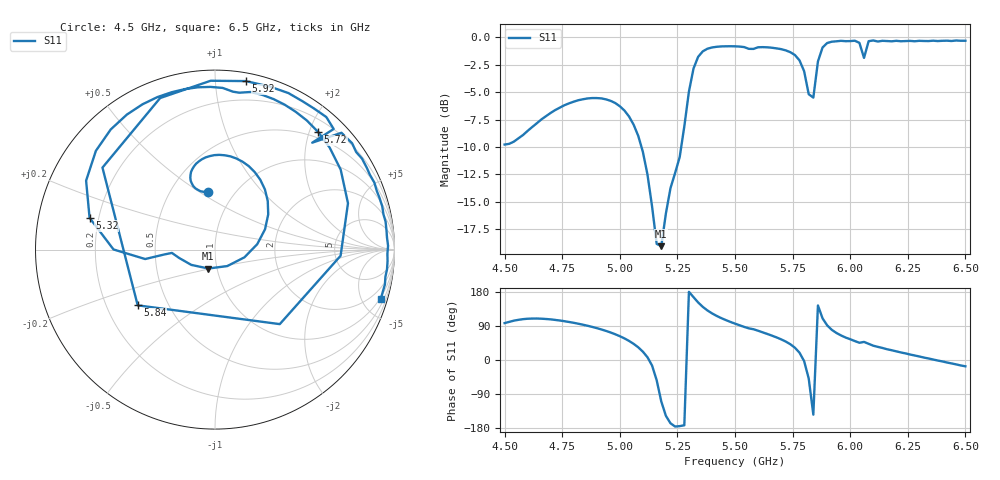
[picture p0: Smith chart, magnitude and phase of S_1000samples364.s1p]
! TOUCHSTONE file generated by CST MICROWAVE STUDIO
! Date and time: Thu Oct 27 22:15:13 2022
! Project name: L.cst
! Parameters = {Di=1.27; Epsilon_r=1.56; InnerDiameter=1.27; Length=2; Lf=10; Lg=60; OuterConductorThickness=0.2921; OuterDiameter=3.6; Wf=3; Wp=41.2; de=1.5; df=6.8; g=0.8; gx=1.24012; gy=3.19924; h=2.34; hf=1.524; px=14.7808; py=8.80377; w=9.7; wx=13.5407; wy=5.60453}
! Header version: 2018
! Port assignment regex: !\s*Touchstone port\s*([0-9]+)\s*=\s*(CST MWS port|CST DS port)\s*([0-9]+|Zmin|Zmax)\s*\(\"(.*)\"\)(\s*mode\s*([0-9]+))?.*
! Touchstone port assignment:
! Touchstone port 1 = CST MWS port 1 ("")
# GHz S DB R 50
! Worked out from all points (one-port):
!   101 points, 4.5 GHz to 6.5 GHz, reference 50 ohm
!   lowest |S11| = -19.0 dB at 5.18 GHz (marker M1), VSWR 1.25, Z = 45.4 - j9.7 ohm
!   |S11| at or under -10 dB: 5.094 GHz to 5.267 GHz (172.5 MHz wide, 3.33 % of centre)
!   S11 on the Smith chart (normalised r, x): 4.5 GHz: 0.75, +0.54; 5.32 GHz: 0.16, +0.12; 5.72 GHz: 0.39, +2.15; 5.84 GHz: 0.34, -0.29; 5.92 GHz: 0.06, +1.20; 6.5 GHz: 0.87, -6.72
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4.5  -9.78 97.4
4.76  -6.19 102.4
4.9  -5.54 84.1
5  -6.28 62.8
5.1  -10.43 22.1
5.16  -18.82 -53.3
5.18  -19.03 -109.4
5.26  -10.91 -174.5
5.3  -4.95 179.9
5.32  -2.84 165.8
5.36  -1.29 140.3
5.4  -0.93 123.1
5.5  -0.83 96.0
5.62  -0.90 73.0
5.72  -1.20 48.7
5.76  -1.62 32.5
5.8  -3.09 -2.8
5.82  -5.19 -49.0
5.84  -5.50 -144.2
5.86  -2.21 143.9
5.88  -0.93 109.9
5.92  -0.41 79.7
6  -0.35 54.9
6.04  -0.51 45.5
6.06  -1.88 47.7
6.1  -0.29 37.8
6.26  -0.33 14.5
6.5  -0.32 -16.7
